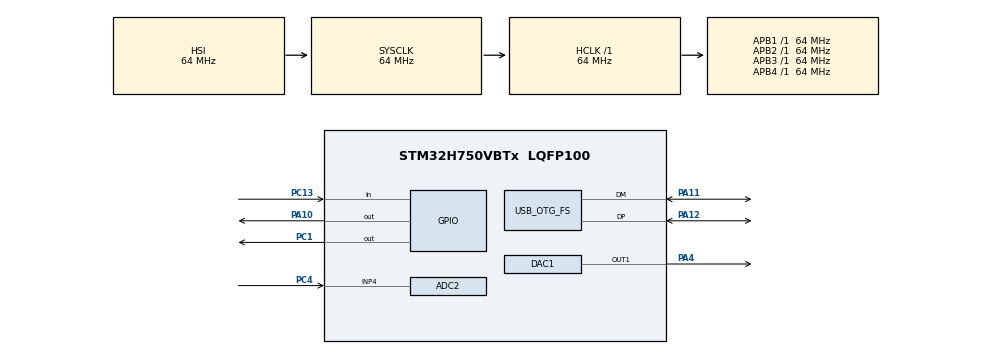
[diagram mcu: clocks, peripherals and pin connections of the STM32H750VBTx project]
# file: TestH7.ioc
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ADC2.Channel-1\#ChannelRegularConversion=ADC_CHANNEL_4
ADC2.ContinuousConvMode=DISABLE
ADC2.ConversionDataManagement=ADC_CONVERSIONDATA_DMA_CIRCULAR
ADC2.ExternalTrigConv=ADC_EXTERNALTRIG_T3_TRGO
ADC2.ExternalTrigConvEdge=ADC_EXTERNALTRIGCONVEDGE_FALLING
ADC2.NbrOfConversion=1
ADC2.NbrOfConversionFlag=1
ADC2.OffsetNumber-1\#ChannelRegularConversion=ADC_OFFSET_NONE
ADC2.OffsetSignedSaturation-1\#ChannelRegularConversion=DISABLE
ADC2.Overrun=ADC_OVR_DATA_OVERWRITTEN
ADC2.OversamplingMode=DISABLE
ADC2.Rank-1\#ChannelRegularConversion=1
ADC2.Resolution=ADC_RESOLUTION_16B
ADC2.SamplingTime-1\#ChannelRegularConversion=ADC_SAMPLETIME_16CYCLES_5
CORTEX_M7.default_mode_Activation=1
DAC1.DAC_Channel-DAC_OUT1=DAC_CHANNEL_1
Dma.ADC2.0.Direction=DMA_PERIPH_TO_MEMORY
Dma.ADC2.0.EventEnable=DISABLE
Dma.ADC2.0.FIFOMode=DMA_FIFOMODE_DISABLE
Dma.ADC2.0.Instance=DMA1_Stream0
Dma.ADC2.0.MemDataAlignment=DMA_MDATAALIGN_HALFWORD
Dma.ADC2.0.MemInc=DMA_MINC_ENABLE
Dma.ADC2.0.Mode=DMA_CIRCULAR
Dma.ADC2.0.PeriphDataAlignment=DMA_PDATAALIGN_HALFWORD
Dma.ADC2.0.PeriphInc=DMA_PINC_DISABLE
Dma.ADC2.0.Polarity=HAL_DMAMUX_REQ_GEN_RISING
Dma.ADC2.0.Priority=DMA_PRIORITY_LOW
Dma.ADC2.0.RequestNumber=1
Dma.ADC2.0.SignalID=NONE
Dma.ADC2.0.SyncEnable=DISABLE
Dma.ADC2.0.SyncPolarity=HAL_DMAMUX_SYNC_NO_EVENT
Dma.ADC2.0.SyncRequestNumber=1
Dma.ADC2.0.SyncSignalID=NONE
Dma.Request0=ADC2
FREERTOS.Tasks01=defaultTask,24,128,StartDefaultTask,Default,NULL,Dynamic,NULL,NULL
FREERTOS.configUSE_NEWLIB_REENTRANT=1
Mcu.Family=STM32H7
Mcu.Name=STM32H750VBTx
Mcu.Package=LQFP100
NVIC.ADC_IRQn=true\:5\:0\:true\:false\:true\:true\:true\:true\:true
NVIC.DMA1_Stream0_IRQn=true\:5\:0\:false\:false\:true\:true\:false\:true\:true
NVIC.OTG_FS_IRQn=true\:5\:0\:false\:false\:true\:true\:false\:true\:true
NVIC.PriorityGroup=NVIC_PRIORITYGROUP_4
NVIC.TIM1_UP_IRQn=true\:15\:0\:false\:false\:true\:false\:false\:true\:true
NVIC.TimeBase=TIM1_UP_IRQn
NVIC.TimeBaseIP=TIM1
PA10.Signal=GPIO_Output
PA11.Mode=Device_Only
PA11.Signal=USB_OTG_FS_DM
PA12.Mode=Device_Only
PA12.Signal=USB_OTG_FS_DP
PA4.Signal=COMP_DAC11_group
PC1.Signal=GPIO_Output
PC13.Signal=GPIO_Input
PC14-OSC32_IN\ (OSC32_IN).Mode=LSE-External-Oscillator
PC14-OSC32_IN\ (OSC32_IN).Signal=RCC_OSC32_IN
PC15-OSC32_OUT\ (OSC32_OUT).Mode=LSE-External-Oscillator
PC15-OSC32_OUT\ (OSC32_OUT).Signal=RCC_OSC32_OUT
PC4.Signal=ADCx_INP4
ProjectManager.HeapSize=0x200
ProjectManager.StackSize=0x400
ProjectManager.TargetToolchain=STM32CubeIDE
RCC.ADCCLockSelection=RCC_ADCCLKSOURCE_CLKP
RCC.ADCFreq_Value=64000000
RCC.APB1Freq_Value=64000000
RCC.APB2Freq_Value=64000000
RCC.APB3Freq_Value=64000000
RCC.APB4Freq_Value=64000000
RCC.CortexFreq_Value=64000000
RCC.HCLKFreq_Value=64000000
RCC.SYSCLKFreq_VALUE=64000000
RCC.USBCLockSelection=RCC_USBCLKSOURCE_HSI48
RCC.USBFreq_Value=48000000
SH.ADCx_INP4.0=ADC2_INP4,IN4-Single-Ended
SH.COMP_DAC11_group.0=DAC1_OUT1,DAC_OUT1
STMicroelectronics.I-CUBE-STDIO.1.5.0.STDIOCcCompilerJjIOoOJjSTDIN=USBDIiCDCIiFS
STMicroelectronics.I-CUBE-STDIO.1.5.0.STDIOCcCompilerJjIOoOJjSTDOUT=USBDIiCDCIiFS
TIM3.AutoReloadPreload=TIM_AUTORELOAD_PRELOAD_DISABLE
TIM3.Period=639
TIM3.TIM_MasterOutputTrigger=TIM_TRGO_UPDATE
USB_DEVICE.CLASS_NAME_FS=CDC
USB_DEVICE.VirtualMode-CDC_FS=Cdc
USB_DEVICE.VirtualModeFS=Cdc_FS
USB_OTG_FS.VirtualMode=Device_Only
USB_OTG_FS.battery_charging_enable=DISABLE
VP_FREERTOS_VS_CMSIS_V2.Mode=CMSIS_V2
VP_MEMORYMAP_VS_MEMORYMAP.Mode=CurAppReg
VP_STMicroelectronics.I-CUBE-STDIO_VS_CompilerJjSTDIO_1.0.0_1.5.0.Mode=CompilerJjSTDIO
VP_SYS_VS_tim1.Mode=TIM1
VP_TIM3_VS_ClockSourceINT.Mode=Internal
VP_USB_DEVICE_VS_USB_DEVICE_CDC_FS.Mode=CDC_FS
board=custom

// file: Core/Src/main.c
/* USER CODE BEGIN Header */
/**
  ******************************************************************************
  * @file           : main.c
  * @brief          : Main program body
  ******************************************************************************
  * @attention
  *
  * Copyright (c) 2025 STMicroelectronics.
  * All rights reserved.
  *
  * This software is licensed under terms that can be found in the LICENSE file
  * in the root directory of this software component.
  * If no LICENSE file comes with this software, it is provided AS-IS.
  *
  ******************************************************************************
  */
/* USER CODE END Header */
#include <main2.hpp>
#include "main.h"
#include "cmsis_os.h"
#include "usb_device.h"

/* USER CODE BEGIN Includes */
#include <math.h>
#include "task.h"
#include "semphr.h"
#include <stdint.h>
#include "lookups.h"
#include "system_conf.h"
/* USER CODE END Includes */

/* USER CODE BEGIN PTD */

typedef struct {
	int n;
	float amplitude;
	float phase;
} MicDataAveraged;

typedef struct {
	SemaphoreHandle_t semaphore;
	float cos_part;
	float sin_part;
	float amplitude;
	float phase;
	uint32_t time_taken_us;
	MicDataAveraged avg;
} MicData;
/* USER CODE END PTD */

/* USER CODE BEGIN PD */
uint16_t micBuffer[MIC_BUFFER_LENGTH] = { 0 };
MicData micData1;
MicData micData2;
/* USER CODE END PD */

ADC_HandleTypeDef hadc2;
DMA_HandleTypeDef hdma_adc2;

DAC_HandleTypeDef hdac1;

TIM_HandleTypeDef htim3;

/* Definitions for defaultTask */
osThreadId_t defaultTaskHandle;
const osThreadAttr_t defaultTask_attributes = {
  .name = "defaultTask",
  .stack_size = 128 * 4,
  .priority = (osPriority_t) osPriorityNormal,
};
/* USER CODE BEGIN PV */
osThreadId_t defaultTaskHandle2;
/* USER CODE END PV */

void SystemClock_Config(void);
void PeriphCommonClock_Config(void);
static void MPU_Config(void);
static void MX_GPIO_Init(void);
static void MX_DMA_Init(void);
static void MX_ADC2_Init(void);
static void MX_TIM3_Init(void);
static void MX_DAC1_Init(void);
void StartDefaultTask(void *argument);

/* USER CODE BEGIN PFP */
void StartDefaultTask2(void *argument);
void LedBlinkBlonk(void *argument);
void HandleMicBuffer(void *argument);

/* USER CODE END PFP */

/* USER CODE BEGIN 0 */
static TaskHandle_t xMicDataTask = NULL;

#define HALF_CONVERT 0x00
#define FULL_CONVERT 0x01

void HAL_ADC_ConvHalfCpltCallback(ADC_HandleTypeDef* hadc) {
	if (hadc->Instance == ADC2 && xMicDataTask != NULL) {
		BaseType_t xHigherPriorityTaskWoken = pdFALSE;
		xTaskNotifyFromISR( xMicDataTask, HALF_CONVERT, eSetBits, &xHigherPriorityTaskWoken);
		portYIELD_FROM_ISR( xHigherPriorityTaskWoken );
	}
}
void HAL_ADC_ConvCpltCallback(ADC_HandleTypeDef* hadc) {
	if (hadc->Instance == ADC2 && xMicDataTask != NULL) {
		BaseType_t xHigherPriorityTaskWoken = pdFALSE;
		xTaskNotifyFromISR( xMicDataTask, FULL_CONVERT, eSetBits, &xHigherPriorityTaskWoken);
		portYIELD_FROM_ISR( xHigherPriorityTaskWoken );
	}
}
/* USER CODE END 0 */

int main(void)
{

  /* MPU Configuration--------------------------------------------------------*/
  MPU_Config();

  /* MCU Configuration--------------------------------------------------------*/

  /* Reset of all peripherals, Initializes the Flash interface and the Systick. */
  HAL_Init();

  /* Configure the system clock */
  SystemClock_Config();

  /* Configure the peripherals common clocks */
  PeriphCommonClock_Config();

  /* USER CODE BEGIN SysInit */
  hdac1.State = HAL_DAC_STATE_RESET;
  /* USER CODE END SysInit */

  /* Initialize all configured peripherals */
  MX_GPIO_Init();
  MX_DMA_Init();
  MX_ADC2_Init();
  MX_TIM3_Init();
  MX_DAC1_Init();
  /* USER CODE BEGIN 2 */
  MX_USB_DEVICE_Init();

//  printf("HELLO");

//  HAL_ADCEx_Calibration_Start(&hadc2, ADC_CALIB_OFFSET_LINEARITY, ADC_SINGLE_ENDED);
//  HAL_ADCEx_Calibration_Start(&hadc2, ADC_CALIB_OFFSET, ADC_SINGLE_ENDED);

  micData1.semaphore = xSemaphoreCreateMutex();
  micData2.semaphore = xSemaphoreCreateMutex();
  micData1.avg.n = 0;
  micData2.avg.n = 0;
  /* USER CODE END 2 */

  /* Init scheduler */
  osKernelInitialize();

  /* Create the thread(s) */
  /* creation of defaultTask */
  defaultTaskHandle = osThreadNew(StartDefaultTask, NULL, &defaultTask_attributes);

  /* USER CODE BEGIN RTOS_THREADS */
  osThreadNew(StartDefaultTask2, NULL, &defaultTask_attributes);
//  osThreadNew(LedBlinkBlonk, NULL, &defaultTask_attributes);
  osThreadNew(HandleMicBuffer, NULL, &defaultTask_attributes);
  /* add threads, ... */
  /* USER CODE END RTOS_THREADS */

  /* Start scheduler */
  osKernelStart();

  /* We should never get here as control is now taken by the scheduler */

  /* Infinite loop */
  while (1)
  {

  }
}

void SystemClock_Config(void)
{
  RCC_OscInitTypeDef RCC_OscInitStruct = {0};
  RCC_ClkInitTypeDef RCC_ClkInitStruct = {0};

  /** Supply configuration update enable
  */
  HAL_PWREx_ConfigSupply(PWR_LDO_SUPPLY);

  /** Configure the main internal regulator output voltage
  */
  __HAL_PWR_VOLTAGESCALING_CONFIG(PWR_REGULATOR_VOLTAGE_SCALE3);

  while(!__HAL_PWR_GET_FLAG(PWR_FLAG_VOSRDY)) {}

  /** Initializes the RCC Oscillators according to the specified parameters
  * in the RCC_OscInitTypeDef structure.
  */
  RCC_OscInitStruct.OscillatorType = RCC_OSCILLATORTYPE_HSI48|RCC_OSCILLATORTYPE_HSI;
  RCC_OscInitStruct.HSIState = RCC_HSI_DIV1;
  RCC_OscInitStruct.HSICalibrationValue = RCC_HSICALIBRATION_DEFAULT;
  RCC_OscInitStruct.HSI48State = RCC_HSI48_ON;
  RCC_OscInitStruct.PLL.PLLState = RCC_PLL_NONE;
  if (HAL_RCC_OscConfig(&RCC_OscInitStruct) != HAL_OK)
  {
    Error_Handler();
  }

  /** Initializes the CPU, AHB and APB buses clocks
  */
  RCC_ClkInitStruct.ClockType = RCC_CLOCKTYPE_HCLK|RCC_CLOCKTYPE_SYSCLK
                              |RCC_CLOCKTYPE_PCLK1|RCC_CLOCKTYPE_PCLK2
                              |RCC_CLOCKTYPE_D3PCLK1|RCC_CLOCKTYPE_D1PCLK1;
  RCC_ClkInitStruct.SYSCLKSource = RCC_SYSCLKSOURCE_HSI;
  RCC_ClkInitStruct.SYSCLKDivider = RCC_SYSCLK_DIV1;
  RCC_ClkInitStruct.AHBCLKDivider = RCC_HCLK_DIV1;
  RCC_ClkInitStruct.APB3CLKDivider = RCC_APB3_DIV1;
  RCC_ClkInitStruct.APB1CLKDivider = RCC_APB1_DIV1;
  RCC_ClkInitStruct.APB2CLKDivider = RCC_APB2_DIV1;
  RCC_ClkInitStruct.APB4CLKDivider = RCC_APB4_DIV1;

  if (HAL_RCC_ClockConfig(&RCC_ClkInitStruct, FLASH_LATENCY_1) != HAL_OK)
  {
    Error_Handler();
  }
}

void PeriphCommonClock_Config(void)
{
  RCC_PeriphCLKInitTypeDef PeriphClkInitStruct = {0};

  /** Initializes the peripherals clock
  */
  PeriphClkInitStruct.PeriphClockSelection = RCC_PERIPHCLK_CKPER;
  PeriphClkInitStruct.CkperClockSelection = RCC_CLKPSOURCE_HSI;
  if (HAL_RCCEx_PeriphCLKConfig(&PeriphClkInitStruct) != HAL_OK)
  {
    Error_Handler();
  }
}

static void MX_ADC2_Init(void)
{

  ADC_ChannelConfTypeDef sConfig = {0};

  /** Common config
  */
  hadc2.Instance = ADC2;
  hadc2.Init.ClockPrescaler = ADC_CLOCK_ASYNC_DIV2;
  hadc2.Init.Resolution = ADC_RESOLUTION_16B;
  hadc2.Init.ScanConvMode = ADC_SCAN_DISABLE;
  hadc2.Init.EOCSelection = ADC_EOC_SINGLE_CONV;
  hadc2.Init.LowPowerAutoWait = DISABLE;
  hadc2.Init.ContinuousConvMode = DISABLE;
  hadc2.Init.NbrOfConversion = 1;
  hadc2.Init.DiscontinuousConvMode = DISABLE;
  hadc2.Init.ExternalTrigConv = ADC_EXTERNALTRIG_T3_TRGO;
  hadc2.Init.ExternalTrigConvEdge = ADC_EXTERNALTRIGCONVEDGE_FALLING;
  hadc2.Init.ConversionDataManagement = ADC_CONVERSIONDATA_DMA_CIRCULAR;
  hadc2.Init.Overrun = ADC_OVR_DATA_OVERWRITTEN;
  hadc2.Init.LeftBitShift = ADC_LEFTBITSHIFT_NONE;
  hadc2.Init.OversamplingMode = DISABLE;
  hadc2.Init.Oversampling.Ratio = 1;
  if (HAL_ADC_Init(&hadc2) != HAL_OK)
  {
    Error_Handler();
  }

  /** Configure Regular Channel
  */
  sConfig.Channel = ADC_CHANNEL_4;
  sConfig.Rank = ADC_REGULAR_RANK_1;
  sConfig.SamplingTime = ADC_SAMPLETIME_16CYCLES_5;
  sConfig.SingleDiff = ADC_SINGLE_ENDED;
  sConfig.OffsetNumber = ADC_OFFSET_NONE;
  sConfig.Offset = 0;
  sConfig.OffsetSignedSaturation = DISABLE;
  if (HAL_ADC_ConfigChannel(&hadc2, &sConfig) != HAL_OK)
  {
    Error_Handler();
  }

}

static void MX_DAC1_Init(void)
{

  DAC_ChannelConfTypeDef sConfig = {0};

  /** DAC Initialization
  */
  hdac1.Instance = DAC1;
  if (HAL_DAC_Init(&hdac1) != HAL_OK)
  {
    Error_Handler();
  }

  /** DAC channel OUT1 config
  */
  sConfig.DAC_SampleAndHold = DAC_SAMPLEANDHOLD_DISABLE;
  sConfig.DAC_Trigger = DAC_TRIGGER_NONE;
  sConfig.DAC_OutputBuffer = DAC_OUTPUTBUFFER_ENABLE;
  sConfig.DAC_ConnectOnChipPeripheral = DAC_CHIPCONNECT_DISABLE;
  sConfig.DAC_UserTrimming = DAC_TRIMMING_FACTORY;
  if (HAL_DAC_ConfigChannel(&hdac1, &sConfig, DAC_CHANNEL_1) != HAL_OK)
  {
    Error_Handler();
  }

}

static void MX_TIM3_Init(void)
{

  TIM_ClockConfigTypeDef sClockSourceConfig = {0};
  TIM_MasterConfigTypeDef sMasterConfig = {0};

  htim3.Instance = TIM3;
  htim3.Init.Prescaler = 0;
  htim3.Init.CounterMode = TIM_COUNTERMODE_UP;
  htim3.Init.Period = 639;
  htim3.Init.ClockDivision = TIM_CLOCKDIVISION_DIV1;
  htim3.Init.AutoReloadPreload = TIM_AUTORELOAD_PRELOAD_DISABLE;
  if (HAL_TIM_Base_Init(&htim3) != HAL_OK)
  {
    Error_Handler();
  }
  sClockSourceConfig.ClockSource = TIM_CLOCKSOURCE_INTERNAL;
  if (HAL_TIM_ConfigClockSource(&htim3, &sClockSourceConfig) != HAL_OK)
  {
    Error_Handler();
  }
  sMasterConfig.MasterOutputTrigger = TIM_TRGO_UPDATE;
  sMasterConfig.MasterSlaveMode = TIM_MASTERSLAVEMODE_DISABLE;
  if (HAL_TIMEx_MasterConfigSynchronization(&htim3, &sMasterConfig) != HAL_OK)
  {
    Error_Handler();
  }

}

static void MX_DMA_Init(void)
{

  /* DMA controller clock enable */
  __HAL_RCC_DMA1_CLK_ENABLE();

  /* DMA interrupt init */
  /* DMA1_Stream0_IRQn interrupt configuration */
  HAL_NVIC_SetPriority(DMA1_Stream0_IRQn, 5, 0);
  HAL_NVIC_EnableIRQ(DMA1_Stream0_IRQn);

}

static void MX_GPIO_Init(void)
{
  GPIO_InitTypeDef GPIO_InitStruct = {0};

  /* GPIO Ports Clock Enable */
  __HAL_RCC_GPIOC_CLK_ENABLE();
  __HAL_RCC_GPIOA_CLK_ENABLE();

  /*Configure GPIO pin Output Level */
  HAL_GPIO_WritePin(GPIOC, GPIO_PIN_1, GPIO_PIN_RESET);

  /*Configure GPIO pin Output Level */
  HAL_GPIO_WritePin(GPIOA, GPIO_PIN_10, GPIO_PIN_RESET);

  /*Configure GPIO pin : PC13 */
  GPIO_InitStruct.Pin = GPIO_PIN_13;
  GPIO_InitStruct.Mode = GPIO_MODE_INPUT;
  GPIO_InitStruct.Pull = GPIO_NOPULL;
  HAL_GPIO_Init(GPIOC, &GPIO_InitStruct);

  /*Configure GPIO pin : PC1 */
  GPIO_InitStruct.Pin = GPIO_PIN_1;
  GPIO_InitStruct.Mode = GPIO_MODE_OUTPUT_PP;
  GPIO_InitStruct.Pull = GPIO_NOPULL;
  GPIO_InitStruct.Speed = GPIO_SPEED_FREQ_LOW;
  HAL_GPIO_Init(GPIOC, &GPIO_InitStruct);

  /*Configure GPIO pin : PA10 */
  GPIO_InitStruct.Pin = GPIO_PIN_10;
  GPIO_InitStruct.Mode = GPIO_MODE_OUTPUT_PP;
  GPIO_InitStruct.Pull = GPIO_NOPULL;
  GPIO_InitStruct.Speed = GPIO_SPEED_FREQ_LOW;
  HAL_GPIO_Init(GPIOA, &GPIO_InitStruct);

}

/* USER CODE BEGIN 4 */
void StartDefaultTask2(void *argument)
{
  for(;;)
  {
	  float phase_diff = 0.0f;
	  float relative_amplitude = 0.0f;
	  int total_time = 0;
      if (xSemaphoreTake(micData1.semaphore, (TickType_t)10) == pdTRUE) {
    	  phase_diff = micData1.phase;
          relative_amplitude = micData1.amplitude;

          total_time += micData1.time_taken_us;
          printf("1760Hz: (%+.5f, %+.5f), ", micData1.amplitude, micData1.phase);
//          printf("  cos: %.5f\r\r\n\r\r", micData1.cos_part);
//          printf("  sin: %.5f\r\r\n\r\r", micData1.sin_part);

    	  HAL_GPIO_WritePin(GPIOA, GPIO_PIN_10, (micData1.amplitude > 0.0005));

          xSemaphoreGive(micData1.semaphore);
      } else {
          printf("MicData1 semaphore not available\r\n");
      }

      if (xSemaphoreTake(micData2.semaphore, (TickType_t)10) == pdTRUE) {
    	  phase_diff -= 2.0f * micData2.phase;
    	  relative_amplitude -= micData2.amplitude;
          total_time += micData2.time_taken_us;

          printf("880Hz: (%+.5f, %+.5f), ", micData2.amplitude, micData2.phase);
//          printf("  cos: %.5f\r\r\n\r\r", micData2.cos_part);
//          printf("  sin: %.5f\r\r\n\r\r", micData2.sin_part);
    	  HAL_GPIO_WritePin(GPIOC, GPIO_PIN_1, !(micData2.amplitude > 0.0004));

          xSemaphoreGive(micData2.semaphore);
      } else {
          printf("MicData2 semaphore not available\r\n");
      }

      printf("relative: (%+.5f, %+.5f), total_time: %d\r\n", relative_amplitude, phase_diff, total_time);
      fflush(stdout);
      osDelay(50);
  }
  /* USER CODE END 5 */
}

void LedBlinkBlonk(void *argument) {
	for (;;) {
		HAL_GPIO_WritePin(GPIOC, GPIO_PIN_1, 0);
		osDelay(800);
		HAL_GPIO_WritePin(GPIOC, GPIO_PIN_1, 1);
		osDelay(200);
	}
}

const int LOOKUP_TABLE_SIZE = (1 << 12);
const int LOOKUP_MASK = LOOKUP_TABLE_SIZE - 1;
const int ADC_PICKER_PERIOD_us = 10;
int micAvg = 0;

void updateMicDataWithParts(MicData *mic_data, int64_t cos_part_int, int64_t sin_part_int, uint32_t time_taken_us) {
	xSemaphoreTake(mic_data->semaphore, portMAX_DELAY);
	mic_data->cos_part = 2.0 * (float)cos_part_int / ((float)MIC_BUFFER_LENGTH * 2147483647.0);
	mic_data->sin_part = 2.0 * (float)sin_part_int / ((float)MIC_BUFFER_LENGTH * 2147483647.0);
	mic_data->amplitude = sqrt(mic_data->cos_part * mic_data->cos_part + mic_data->sin_part * mic_data->sin_part);
	mic_data->phase = atan2(mic_data->sin_part, mic_data->cos_part);
	mic_data->time_taken_us = time_taken_us;

	if (mic_data->avg.n == 0) {
		mic_data->avg.amplitude = mic_data->amplitude;
		mic_data->avg.phase = mic_data->phase;
	} else {
		mic_data->avg.amplitude = (mic_data->amplitude + mic_data->avg.n * mic_data->avg.amplitude) / (mic_data->avg.n + 1);
//		float total_phase = (mic_data->amplitude + mic_data->avg.n * mic_data->avg.amplitude);
//		total_phase = (total_phase + 4.0f * M_PI) % (4.0f * M_PI);
		mic_data->avg.phase = (mic_data->amplitude + mic_data->avg.n * mic_data->avg.amplitude) / (mic_data->avg.n + 1);
	}
	mic_data->avg.n += 1;

	xSemaphoreGive(mic_data->semaphore);
}

void updateMicDataForFreq(MicData *mic_data, int index_offset, int freq) {
	int64_t cos_part_int = 0;
	int64_t sin_part_int = 0;
	uint32_t time = HAL_GetTick();

	int phi_cos = LOOKUP_TABLE_SIZE / 4;
	int phi_sin = 0;
	int dphi = ((ADC_PICKER_PERIOD_us * LOOKUP_TABLE_SIZE * freq) / 1000000) & LOOKUP_MASK;

	for (int i = 0; i < MIC_BUFFER_LENGTH / 2; i++) {
		int16_t adc_value = micBuffer[i + index_offset] - micAvg;
		phi_cos = (phi_cos + dphi) & LOOKUP_MASK;
		phi_sin = (phi_sin + dphi) & LOOKUP_MASK;

		cos_part_int += (adc_value * sineLookupTable4096[phi_cos]);
		sin_part_int += (adc_value * sineLookupTable4096[phi_sin]);
	}

	time = HAL_GetTick() - time;

	updateMicDataWithParts(mic_data, cos_part_int, sin_part_int, 1000 * time);
}

void getMicDataAvg() {
	int64_t avg = 0;

	for (int i = 0; i < MIC_BUFFER_LENGTH / 2; i++) {
		avg += (int64_t)(micBuffer[i + MIC_BUFFER_LENGTH / 2]);
	}

	micAvg = 2 * avg / MIC_BUFFER_LENGTH;
}

void HandleMicBuffer(void *argument) {
	xMicDataTask = xTaskGetCurrentTaskHandle();

	uint32_t notifiedValue;
	HAL_ADC_Start_DMA(&hadc2, (uint32_t*)micBuffer, MIC_BUFFER_LENGTH);
	HAL_TIM_Base_Start(&htim3);

	for (;;) {
		BaseType_t xResult = xTaskNotifyWait( pdFALSE, UINT32_MAX, &notifiedValue, portMAX_DELAY);

		if (xResult == pdPASS && notifiedValue == HALF_CONVERT) {
			updateMicDataForFreq(&micData1, 0, 1760);
			updateMicDataForFreq(&micData2, 0, 880);
		} else if (xResult == pdPASS && notifiedValue == FULL_CONVERT) {
			getMicDataAvg();
		}
	}
}

/* USER CODE END 4 */

void StartDefaultTask(void *argument)
{
  /* init code for USB_DEVICE */
  MX_USB_DEVICE_Init();
  /* USER CODE BEGIN 5 */
  /* Infinite loop */
  for(;;)
  {
    osDelay(5000);
  }
  /* USER CODE END 5 */
}

 /* MPU Configuration */

void MPU_Config(void)
{
  MPU_Region_InitTypeDef MPU_InitStruct = {0};

  /* Disables the MPU */
  HAL_MPU_Disable();

  /** Initializes and configures the Region and the memory to be protected
  */
  MPU_InitStruct.Enable = MPU_REGION_ENABLE;
  MPU_InitStruct.Number = MPU_REGION_NUMBER0;
  MPU_InitStruct.BaseAddress = 0x0;
  MPU_InitStruct.Size = MPU_REGION_SIZE_4GB;
  MPU_InitStruct.SubRegionDisable = 0x87;
  MPU_InitStruct.TypeExtField = MPU_TEX_LEVEL0;
  MPU_InitStruct.AccessPermission = MPU_REGION_NO_ACCESS;
  MPU_InitStruct.DisableExec = MPU_INSTRUCTION_ACCESS_DISABLE;
  MPU_InitStruct.IsShareable = MPU_ACCESS_SHAREABLE;
  MPU_InitStruct.IsCacheable = MPU_ACCESS_NOT_CACHEABLE;
  MPU_InitStruct.IsBufferable = MPU_ACCESS_NOT_BUFFERABLE;

  HAL_MPU_ConfigRegion(&MPU_InitStruct);
  /* Enables the MPU */
  HAL_MPU_Enable(MPU_PRIVILEGED_DEFAULT);

}

void HAL_TIM_PeriodElapsedCallback(TIM_HandleTypeDef *htim)
{
  if (htim->Instance == TIM1)
  {
    HAL_IncTick();
  }
}

void Error_Handler(void)
{
  __disable_irq();
  while (1)
  {
  }
}
